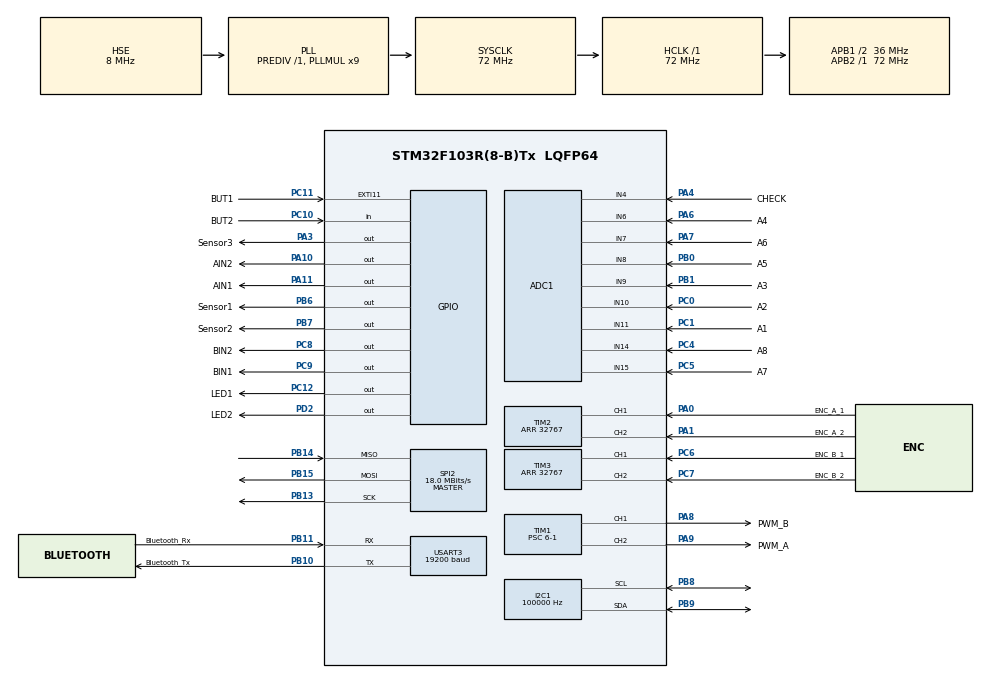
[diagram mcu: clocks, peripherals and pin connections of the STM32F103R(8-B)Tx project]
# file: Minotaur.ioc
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ADC1.Channel-361\#ChannelRegularConversion=ADC_CHANNEL_11
ADC1.Channel-367\#ChannelRegularConversion=ADC_CHANNEL_10
ADC1.Channel-368\#ChannelRegularConversion=ADC_CHANNEL_9
ADC1.Channel-369\#ChannelRegularConversion=ADC_CHANNEL_6
ADC1.Channel-370\#ChannelRegularConversion=ADC_CHANNEL_8
ADC1.Channel-371\#ChannelRegularConversion=ADC_CHANNEL_7
ADC1.Channel-372\#ChannelRegularConversion=ADC_CHANNEL_4
ADC1.ContinuousConvMode=DISABLE
ADC1.DataAlign=ADC_DATAALIGN_RIGHT
ADC1.DiscontinuousConvMode=DISABLE
ADC1.EnableAnalogWatchDog=false
ADC1.EnableRegularConversion=ENABLE
ADC1.ExternalTrigConvEdgeChoice=NONE
ADC1.InjNumberOfConversion=0
ADC1.NbrOfConversion=6
ADC1.NbrOfConversionFlag=1
ADC1.Rank-361\#ChannelRegularConversion=1
ADC1.Rank-367\#ChannelRegularConversion=2
ADC1.Rank-368\#ChannelRegularConversion=3
ADC1.Rank-369\#ChannelRegularConversion=4
ADC1.Rank-370\#ChannelRegularConversion=5
ADC1.Rank-371\#ChannelRegularConversion=6
ADC1.Rank-372\#ChannelRegularConversion=1
ADC1.SamplingTime-361\#ChannelRegularConversion=ADC_SAMPLETIME_41CYCLES_5
ADC1.SamplingTime-367\#ChannelRegularConversion=ADC_SAMPLETIME_41CYCLES_5
ADC1.SamplingTime-368\#ChannelRegularConversion=ADC_SAMPLETIME_41CYCLES_5
ADC1.SamplingTime-369\#ChannelRegularConversion=ADC_SAMPLETIME_41CYCLES_5
ADC1.SamplingTime-370\#ChannelRegularConversion=ADC_SAMPLETIME_41CYCLES_5
ADC1.SamplingTime-371\#ChannelRegularConversion=ADC_SAMPLETIME_41CYCLES_5
ADC1.SamplingTime-372\#ChannelRegularConversion=ADC_SAMPLETIME_1CYCLE_5
ADC1.ScanConvMode=ADC_SCAN_ENABLE
ADC1.master=1
Dma.ADC1.2.Direction=DMA_PERIPH_TO_MEMORY
Dma.ADC1.2.Instance=DMA1_Channel1
Dma.ADC1.2.MemDataAlignment=DMA_MDATAALIGN_HALFWORD
Dma.ADC1.2.MemInc=DMA_MINC_ENABLE
Dma.ADC1.2.Mode=DMA_NORMAL
Dma.ADC1.2.PeriphDataAlignment=DMA_PDATAALIGN_HALFWORD
Dma.ADC1.2.PeriphInc=DMA_PINC_DISABLE
Dma.ADC1.2.Priority=DMA_PRIORITY_VERY_HIGH
Dma.Request0=USART3_TX
Dma.Request1=USART3_RX
Dma.Request2=ADC1
Dma.USART3_RX.1.Direction=DMA_PERIPH_TO_MEMORY
Dma.USART3_RX.1.Instance=DMA1_Channel3
Dma.USART3_RX.1.MemDataAlignment=DMA_MDATAALIGN_BYTE
Dma.USART3_RX.1.MemInc=DMA_MINC_ENABLE
Dma.USART3_RX.1.Mode=DMA_CIRCULAR
Dma.USART3_RX.1.PeriphDataAlignment=DMA_PDATAALIGN_BYTE
Dma.USART3_RX.1.PeriphInc=DMA_PINC_DISABLE
Dma.USART3_RX.1.Priority=DMA_PRIORITY_LOW
Dma.USART3_TX.0.Direction=DMA_MEMORY_TO_PERIPH
Dma.USART3_TX.0.Instance=DMA1_Channel2
Dma.USART3_TX.0.MemDataAlignment=DMA_MDATAALIGN_BYTE
Dma.USART3_TX.0.MemInc=DMA_MINC_ENABLE
Dma.USART3_TX.0.Mode=DMA_NORMAL
Dma.USART3_TX.0.PeriphDataAlignment=DMA_PDATAALIGN_BYTE
Dma.USART3_TX.0.PeriphInc=DMA_PINC_DISABLE
Dma.USART3_TX.0.Priority=DMA_PRIORITY_LOW
I2C1.ClockSpeed=100000
I2C1.OwnAddress=0
Mcu.Family=STM32F1
Mcu.Name=STM32F103R(8-B)Tx
Mcu.Package=LQFP64
NVIC.DMA1_Channel1_IRQn=true\:1\:0\:true
NVIC.DMA1_Channel2_IRQn=true\:2\:0\:true
NVIC.DMA1_Channel3_IRQn=true\:2\:0\:true
NVIC.EXTI15_10_IRQn=true\:0\:0\:false
NVIC.PriorityGroup=NVIC_PRIORITYGROUP_4
NVIC.TIM4_IRQn=true\:0\:0\:false
NVIC.USART3_IRQn=true\:2\:0\:true
PA0-WKUP.GPIO_Label=ENC_A_1
PA0-WKUP.GPIO_PuPd=GPIO_NOPULL
PA0-WKUP.Signal=S_TIM2_CH1_ETR
PA1.GPIO_Label=ENC_A_2
PA1.GPIO_PuPd=GPIO_NOPULL
PA1.Signal=S_TIM2_CH2
PA10.GPIO_Label=AIN2
PA10.Signal=GPIO_Output
PA11.GPIO_Label=AIN1
PA11.Signal=GPIO_Output
PA13.Mode=Trace_Asynchronous_SW
PA13.Signal=SYS_JTMS-SWDIO
PA14.Mode=Trace_Asynchronous_SW
PA14.Signal=SYS_JTCK-SWCLK
PA3.GPIO_Label=Sensor3
PA3.Signal=GPIO_Output
PA4.GPIO_Label=CHECK
PA4.Signal=ADCx_IN4
PA6.GPIO_Label=A4
PA6.Signal=ADCx_IN6
PA7.GPIO_Label=A6
PA7.Signal=ADCx_IN7
PA8.GPIO_Label=PWM_B
PA8.Signal=S_TIM1_CH1
PA9.GPIO_Label=PWM_A
PA9.Signal=S_TIM1_CH2
PB0.GPIO_Label=A5
PB0.Signal=ADCx_IN8
PB1.GPIO_Label=A3
PB1.Signal=ADCx_IN9
PB10.GPIO_Label=Bluetooth_Tx
PB10.Mode=Asynchronous
PB10.Signal=USART3_TX
PB11.GPIO_Label=Bluetooth_Rx
PB11.Mode=Asynchronous
PB11.Signal=USART3_RX
PB13.Mode=Full_Duplex_Master
PB13.Signal=SPI2_SCK
PB14.Mode=Full_Duplex_Master
PB14.Signal=SPI2_MISO
PB15.Mode=Full_Duplex_Master
PB15.Signal=SPI2_MOSI
PB3.Mode=Trace_Asynchronous_SW
PB3.Signal=SYS_JTDO-TRACESWO
PB6.GPIO_Label=Sensor1
PB6.Signal=GPIO_Output
PB7.GPIO_Label=Sensor2
PB7.Signal=GPIO_Output
PB8.Mode=I2C
PB8.Signal=I2C1_SCL
PB9.Mode=I2C
PB9.Signal=I2C1_SDA
PC0.GPIO_Label=A2
PC0.Signal=ADCx_IN10
PC1.GPIO_Label=A1
PC1.Signal=ADCx_IN11
PC10.GPIO_Label=BUT2
PC10.Signal=GPIO_Input
PC11.GPIO_Label=BUT1
PC11.Signal=GPXTI11
PC12.GPIO_Label=LED1
PC12.Signal=GPIO_Output
PC14-OSC32_IN.Mode=LSE-External-Oscillator
PC14-OSC32_IN.Signal=RCC_OSC32_IN
PC15-OSC32_OUT.Mode=LSE-External-Oscillator
PC15-OSC32_OUT.Signal=RCC_OSC32_OUT
PC4.GPIO_Label=A8
PC4.Signal=ADCx_IN14
PC5.GPIO_Label=A7
PC5.Signal=ADCx_IN15
PC6.GPIO_Label=ENC_B_1
PC6.Signal=S_TIM3_CH1
PC7.GPIO_Label=ENC_B_2
PC7.Signal=S_TIM3_CH2
PC8.GPIO_Label=BIN2
PC8.Signal=GPIO_Output
PC9.GPIO_Label=BIN1
PC9.Signal=GPIO_Output
PD0-OSC_IN.Mode=HSE-External-Oscillator
PD0-OSC_IN.Signal=RCC_OSC_IN
PD1-OSC_OUT.Mode=HSE-External-Oscillator
PD1-OSC_OUT.Signal=RCC_OSC_OUT
PD2.GPIO_Label=LED2
PD2.Signal=GPIO_Output
ProjectManager.TargetToolchain=TrueSTUDIO
RCC.ADCPresc=RCC_ADCPCLK2_DIV6
RCC.AHBFreq_Value=72000000
RCC.APB1CLKDivider=RCC_HCLK_DIV2
RCC.APB1Freq_Value=36000000
RCC.APB1TimFreq_Value=72000000
RCC.APB2Freq_Value=72000000
RCC.APB2TimFreq_Value=72000000
RCC.HCLKFreq_Value=72000000
RCC.HSIState=RCC_HSI_ON
RCC.PLLMUL=RCC_PLL_MUL9
RCC.PLLSourceVirtual=RCC_PLLSOURCE_HSE
RCC.SYSCLKFreq_VALUE=72000000
RCC.SYSCLKSource=RCC_SYSCLKSOURCE_PLLCLK
RCC.USBFreq_Value=72000000
SH.ADCx_IN10.0=ADC1_IN10,IN10
SH.ADCx_IN11.0=ADC1_IN11,IN11
SH.ADCx_IN14.0=ADC1_IN14,IN14
SH.ADCx_IN15.0=ADC1_IN15,IN15
SH.ADCx_IN4.0=ADC1_IN4,IN4
SH.ADCx_IN6.0=ADC1_IN6,IN6
SH.ADCx_IN7.0=ADC1_IN7,IN7
SH.ADCx_IN8.0=ADC1_IN8,IN8
SH.ADCx_IN9.0=ADC1_IN9,IN9
SH.S_TIM1_CH1.0=TIM1_CH1,PWM Generation1 CH1
SH.S_TIM1_CH2.0=TIM1_CH2,PWM Generation2 CH2
SH.S_TIM2_CH1_ETR.0=TIM2_CH1,Encoder_Interface
SH.S_TIM2_CH2.0=TIM2_CH2,Encoder_Interface
SH.S_TIM3_CH1.0=TIM3_CH1,Encoder_Interface
SH.S_TIM3_CH2.0=TIM3_CH2,Encoder_Interface
SPI2.CalculateBaudRate=18.0 MBits/s
SPI2.Mode=SPI_MODE_MASTER
TIM1.Channel-PWM\ Generation2\ CH2=TIM_CHANNEL_2
TIM1.OCMode_PWM-PWM\ Generation2\ CH2=TIM_OCMODE_PWM1
TIM1.Period=999
TIM1.Prescaler=6-1
TIM2.CounterMode=TIM_COUNTERMODE_UP
TIM2.EncoderMode=TIM_ENCODERMODE_TI12
TIM2.IC1Polarity=TIM_ICPOLARITY_RISING
TIM2.IC2Polarity=TIM_ICPOLARITY_FALLING
TIM2.Period=32767
TIM3.CounterMode=TIM_COUNTERMODE_UP
TIM3.EncoderMode=TIM_ENCODERMODE_TI12
TIM3.IC2Polarity=TIM_ICPOLARITY_FALLING
TIM3.Period=32767
TIM4.Period=1000-1
TIM4.Prescaler=72-1
TIM4.TIM_MasterOutputTrigger=TIM_TRGO_ENABLE
USART3.BaudRate=19200
VP_RTC_No_RTC_Output.Mode=RTC OUT
VP_TIM1_VS_ClockSourceINT.Mode=Internal
VP_TIM4_VS_ClockSourceINT.Mode=Internal
board=Minotaur

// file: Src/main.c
/**
  ******************************************************************************
  * File Name          : main.c
  * Description        : Main program body
  ******************************************************************************
  *
  * COPYRIGHT(c) 2016 STMicroelectronics
  *
  * Redistribution and use in source and binary forms, with or without modification,
  * are permitted provided that the following conditions are met:
  *   1. Redistributions of source code must retain the above copyright notice,
  *      this list of conditions and the following disclaimer.
  *   2. Redistributions in binary form must reproduce the above copyright notice,
  *      this list of conditions and the following disclaimer in the documentation
  *      and/or other materials provided with the distribution.
  *   3. Neither the name of STMicroelectronics nor the names of its contributors
  *      may be used to endorse or promote products derived from this software
  *      without specific prior written permission.
  *
  * THIS SOFTWARE IS PROVIDED BY THE COPYRIGHT HOLDERS AND CONTRIBUTORS "AS IS"
  * AND ANY EXPRESS OR IMPLIED WARRANTIES, INCLUDING, BUT NOT LIMITED TO, THE
  * IMPLIED WARRANTIES OF MERCHANTABILITY AND FITNESS FOR A PARTICULAR PURPOSE ARE
  * DISCLAIMED. IN NO EVENT SHALL THE COPYRIGHT HOLDER OR CONTRIBUTORS BE LIABLE
  * FOR ANY DIRECT, INDIRECT, INCIDENTAL, SPECIAL, EXEMPLARY, OR CONSEQUENTIAL
  * DAMAGES (INCLUDING, BUT NOT LIMITED TO, PROCUREMENT OF SUBSTITUTE GOODS OR
  * SERVICES; LOSS OF USE, DATA, OR PROFITS; OR BUSINESS INTERRUPTION) HOWEVER
  * CAUSED AND ON ANY THEORY OF LIABILITY, WHETHER IN CONTRACT, STRICT LIABILITY,
  * OR TORT (INCLUDING NEGLIGENCE OR OTHERWISE) ARISING IN ANY WAY OUT OF THE USE
  * OF THIS SOFTWARE, EVEN IF ADVISED OF THE POSSIBILITY OF SUCH DAMAGE.
  *
  ******************************************************************************
  */
#include "stm32f1xx_hal.h"

/* USER CODE BEGIN Includes */
#include "jazda.h"

/* USER CODE END Includes */

ADC_HandleTypeDef hadc1;
DMA_HandleTypeDef hdma_adc1;

I2C_HandleTypeDef hi2c1;

RTC_HandleTypeDef hrtc;

SPI_HandleTypeDef hspi2;

TIM_HandleTypeDef htim1;
TIM_HandleTypeDef htim2;
TIM_HandleTypeDef htim3;
TIM_HandleTypeDef htim4;

UART_HandleTypeDef huart3;
DMA_HandleTypeDef hdma_usart3_tx;
DMA_HandleTypeDef hdma_usart3_rx;

/* USER CODE BEGIN PV */
/* Private variables ---------------------------------------------------------*/

/* USER CODE END PV */

void SystemClock_Config(void);
static void MX_GPIO_Init(void);
static void MX_DMA_Init(void);
static void MX_ADC1_Init(void);
static void MX_I2C1_Init(void);
static void MX_RTC_Init(void);
static void MX_SPI2_Init(void);
static void MX_TIM1_Init(void);
static void MX_TIM2_Init(void);
static void MX_TIM3_Init(void);
static void MX_TIM4_Init(void);
static void MX_USART3_UART_Init(void);

/* USER CODE BEGIN PFP */
/* Private function prototypes -----------------------------------------------*/

/* USER CODE END PFP */

/* USER CODE BEGIN 0 */

//uint16_t adcData[6];
volatile uint32_t adctmp[6]={0,0,0,0,0,0};
volatile int32_t SensorTab[6];
volatile uint16_t dys0[6]={0,0,0,0,0,0};
uint8_t counter=0;
volatile int32_t lin_vel=0,rot_vel;
int8_t map=0;
uint8_t Status=STOP_STATUS;
volatile int32_t angle=0,distance=0,angle1=0;
int32_t dryf=0;
int32_t speed[2];
int8_t indexer=0;

int8_t tryb=0;
int8_t x=1;
int8_t y=1;
int8_t i,j;
int8_t ori=ORI_START; // orientacja startowa
int8_t state=0;
int8_t cell[XMAZE][YMAZE];
int8_t walls[XMAZE][YMAZE];
int8_t target[2]={TARGET_1,TARGET_2};
int8_t path[256];

uint8_t change_wall;
uint8_t change_wall_1;
uint8_t column;

int16_t X=0,Y=0,Z=0;

//extern int32_t SSR_Tresh=-90;
//extern int32_t SSL_Tresh=-90;
//extern int32_t SR_Tresh=-150;
//extern int32_t SL_Tresh=-150;
//extern int32_t SF_Tresh=-140;

/* USER CODE END 0 */

int main(void)
{

  /* USER CODE BEGIN 1 */
	VEL=300;
  /* USER CODE END 1 */

  /* MCU Configuration----------------------------------------------------------*/

  /* Reset of all peripherals, Initializes the Flash interface and the Systick. */
   HAL_Init();

  /* Configure the system clock */
  SystemClock_Config();

  /* Initialize all configured peripherals */
  MX_GPIO_Init();
  MX_DMA_Init();
  MX_ADC1_Init();
  MX_I2C1_Init();
  MX_RTC_Init();
  MX_SPI2_Init();
  MX_TIM1_Init();
  MX_TIM2_Init();
  MX_TIM3_Init();
  MX_TIM4_Init();
  MX_USART3_UART_Init();

  /* Infinite loop */
  /* USER CODE BEGIN WHILE */
  HAL_TIM_Encoder_Start(&htim3,TIM_CHANNEL_ALL);
  HAL_TIM_Encoder_Start(&htim2,TIM_CHANNEL_ALL);
  HAL_TIM_PWM_Start(&htim1,TIM_CHANNEL_1);
  HAL_TIM_PWM_Start(&htim1,TIM_CHANNEL_2);

    // Start ADC DMA
  HAL_ADC_Start(&hadc1);
  HAL_ADCEx_Calibration_Start(&hadc1);
//  HAL_ADC_Start_DMA(&hadc1, (uint32_t*)&adcData, 6);

  HAL_UART_MspInit(&huart3);

  HAL_TIM_Base_Start(&htim4);

  HAL_UART_Receive_DMA(&huart3,(uint8_t*)RxBuffer,1);

  int i1, j1;
  for(i1=0;i1<XMAZE;i1++)
  {
    for(j1=0;j1<YMAZE;j1++)
    {
      cell[i1][j1]=-1;
      walls[i1][j1]=-1;
    }
  }
  while(Status==STOP_STATUS)
  {
	  HAL_GPIO_WritePin(LED1_GPIO_Port,LED1_Pin,1);
	  HAL_Delay(500);
	  HAL_GPIO_WritePin(LED1_GPIO_Port,LED1_Pin,0);
	  HAL_Delay(500);
  }

  calibration();

  while (1)
  {

  if (istarget(x,y)==1) rstdrive();
  if(Status==DRIVE_STATUS)
	  {
		  if (walls[x][y]==-1)
		  {
		 	 mapCell();

		 	 HAL_TIM_Base_Stop_IT(&htim4);

		 	 flood();
		 	 findPath();
		  }
		  readPath();

		  HAL_TIM_Base_Start_IT(&htim4);
		  set();
		  drive(VEL);
	  }
  /* USER CODE END WHILE */

  }

}

/** System Clock Configuration
*/
void SystemClock_Config(void)
{

  RCC_OscInitTypeDef RCC_OscInitStruct;
  RCC_ClkInitTypeDef RCC_ClkInitStruct;
  RCC_PeriphCLKInitTypeDef PeriphClkInit;

  RCC_OscInitStruct.OscillatorType = RCC_OSCILLATORTYPE_LSI|RCC_OSCILLATORTYPE_HSE;
  RCC_OscInitStruct.HSEState = RCC_HSE_ON;
  RCC_OscInitStruct.HSEPredivValue = RCC_HSE_PREDIV_DIV1;
  RCC_OscInitStruct.LSIState = RCC_LSI_ON;
  RCC_OscInitStruct.PLL.PLLState = RCC_PLL_ON;
  RCC_OscInitStruct.PLL.PLLSource = RCC_PLLSOURCE_HSE;
  RCC_OscInitStruct.PLL.PLLMUL = RCC_PLL_MUL9;
  HAL_RCC_OscConfig(&RCC_OscInitStruct);

  RCC_ClkInitStruct.ClockType = RCC_CLOCKTYPE_SYSCLK|RCC_CLOCKTYPE_PCLK1;
  RCC_ClkInitStruct.SYSCLKSource = RCC_SYSCLKSOURCE_PLLCLK;
  RCC_ClkInitStruct.AHBCLKDivider = RCC_SYSCLK_DIV1;
  RCC_ClkInitStruct.APB1CLKDivider = RCC_HCLK_DIV2;
  RCC_ClkInitStruct.APB2CLKDivider = RCC_HCLK_DIV1;
  HAL_RCC_ClockConfig(&RCC_ClkInitStruct, FLASH_LATENCY_2);

  PeriphClkInit.PeriphClockSelection = RCC_PERIPHCLK_RTC|RCC_PERIPHCLK_ADC;
  PeriphClkInit.RTCClockSelection = RCC_RTCCLKSOURCE_LSI;
  PeriphClkInit.AdcClockSelection = RCC_ADCPCLK2_DIV6;
  HAL_RCCEx_PeriphCLKConfig(&PeriphClkInit);

  HAL_SYSTICK_Config(HAL_RCC_GetHCLKFreq()/1000);

  HAL_SYSTICK_CLKSourceConfig(SYSTICK_CLKSOURCE_HCLK);

  /* SysTick_IRQn interrupt configuration */
  HAL_NVIC_SetPriority(SysTick_IRQn, 0, 0);
}

/* ADC1 init function */
void MX_ADC1_Init(void)
{

  ADC_ChannelConfTypeDef sConfig;

    /**Common config
    */
  hadc1.Instance = ADC1;
  hadc1.Init.ScanConvMode = ADC_SCAN_ENABLE;
  hadc1.Init.ContinuousConvMode = DISABLE;
  hadc1.Init.DiscontinuousConvMode = DISABLE;
  hadc1.Init.ExternalTrigConv = ADC_SOFTWARE_START;
  hadc1.Init.DataAlign = ADC_DATAALIGN_RIGHT;
  hadc1.Init.NbrOfConversion = 6;
  HAL_ADC_Init(&hadc1);

    /**Configure Regular Channel
    */
  sConfig.Channel = ADC_CHANNEL_4;
  sConfig.Rank = 1;
  sConfig.SamplingTime = ADC_SAMPLETIME_1CYCLE_5;
  HAL_ADC_ConfigChannel(&hadc1, &sConfig);

    /**Configure Regular Channel
    */
  sConfig.Channel = ADC_CHANNEL_11;
  sConfig.SamplingTime = ADC_SAMPLETIME_41CYCLES_5;
  HAL_ADC_ConfigChannel(&hadc1, &sConfig);

    /**Configure Regular Channel
    */
  sConfig.Channel = ADC_CHANNEL_10;
  sConfig.Rank = 2;
  HAL_ADC_ConfigChannel(&hadc1, &sConfig);

    /**Configure Regular Channel
    */
  sConfig.Channel = ADC_CHANNEL_9;
  sConfig.Rank = 3;
  HAL_ADC_ConfigChannel(&hadc1, &sConfig);

    /**Configure Regular Channel
    */
  sConfig.Channel = ADC_CHANNEL_6;
  sConfig.Rank = 4;
  HAL_ADC_ConfigChannel(&hadc1, &sConfig);

    /**Configure Regular Channel
    */
  sConfig.Channel = ADC_CHANNEL_8;
  sConfig.Rank = 5;
  HAL_ADC_ConfigChannel(&hadc1, &sConfig);

    /**Configure Regular Channel
    */
  sConfig.Channel = ADC_CHANNEL_7;
  sConfig.Rank = 6;
  HAL_ADC_ConfigChannel(&hadc1, &sConfig);

}

/* I2C1 init function */
void MX_I2C1_Init(void)
{

  hi2c1.Instance = I2C1;
  hi2c1.Init.ClockSpeed = 100000;
  hi2c1.Init.DutyCycle = I2C_DUTYCYCLE_2;
  hi2c1.Init.OwnAddress1 = 0;
  hi2c1.Init.AddressingMode = I2C_ADDRESSINGMODE_7BIT;
  hi2c1.Init.DualAddressMode = I2C_DUALADDRESS_DISABLED;
  hi2c1.Init.OwnAddress2 = 0;
  hi2c1.Init.GeneralCallMode = I2C_GENERALCALL_DISABLED;
  hi2c1.Init.NoStretchMode = I2C_NOSTRETCH_DISABLED;
  HAL_I2C_Init(&hi2c1);

}

/* RTC init function */
void MX_RTC_Init(void)
{

  RTC_TimeTypeDef sTime;
  RTC_DateTypeDef DateToUpdate;

    /**Initialize RTC and set the Time and Date
    */
  hrtc.Instance = RTC;
  hrtc.Init.AsynchPrediv = RTC_AUTO_1_SECOND;
  hrtc.Init.OutPut = RTC_OUTPUTSOURCE_NONE;
  HAL_RTC_Init(&hrtc);

  sTime.Hours = 0x0;
  sTime.Minutes = 0x0;
  sTime.Seconds = 0x0;

  HAL_RTC_SetTime(&hrtc, &sTime, FORMAT_BCD);

  DateToUpdate.WeekDay = RTC_WEEKDAY_MONDAY;
  DateToUpdate.Month = RTC_MONTH_JANUARY;
  DateToUpdate.Date = 0x1;
  DateToUpdate.Year = 0x0;

  HAL_RTC_SetDate(&hrtc, &DateToUpdate, FORMAT_BCD);

}

/* SPI2 init function */
void MX_SPI2_Init(void)
{

  hspi2.Instance = SPI2;
  hspi2.Init.Mode = SPI_MODE_MASTER;
  hspi2.Init.Direction = SPI_DIRECTION_2LINES;
  hspi2.Init.DataSize = SPI_DATASIZE_8BIT;
  hspi2.Init.CLKPolarity = SPI_POLARITY_LOW;
  hspi2.Init.CLKPhase = SPI_PHASE_1EDGE;
  hspi2.Init.NSS = SPI_NSS_SOFT;
  hspi2.Init.BaudRatePrescaler = SPI_BAUDRATEPRESCALER_2;
  hspi2.Init.FirstBit = SPI_FIRSTBIT_MSB;
  hspi2.Init.TIMode = SPI_TIMODE_DISABLED;
  hspi2.Init.CRCCalculation = SPI_CRCCALCULATION_DISABLED;
  hspi2.Init.CRCPolynomial = 10;
  HAL_SPI_Init(&hspi2);

}

/* TIM1 init function */
void MX_TIM1_Init(void)
{

  TIM_ClockConfigTypeDef sClockSourceConfig;
  TIM_MasterConfigTypeDef sMasterConfig;
  TIM_BreakDeadTimeConfigTypeDef sBreakDeadTimeConfig;
  TIM_OC_InitTypeDef sConfigOC;

  htim1.Instance = TIM1;
  htim1.Init.Prescaler = 6-1;
  htim1.Init.CounterMode = TIM_COUNTERMODE_UP;
  htim1.Init.Period = 999;
  htim1.Init.ClockDivision = TIM_CLOCKDIVISION_DIV1;
  htim1.Init.RepetitionCounter = 0;
  HAL_TIM_Base_Init(&htim1);

  sClockSourceConfig.ClockSource = TIM_CLOCKSOURCE_INTERNAL;
  HAL_TIM_ConfigClockSource(&htim1, &sClockSourceConfig);

  HAL_TIM_PWM_Init(&htim1);

  sMasterConfig.MasterOutputTrigger = TIM_TRGO_RESET;
  sMasterConfig.MasterSlaveMode = TIM_MASTERSLAVEMODE_DISABLE;
  HAL_TIMEx_MasterConfigSynchronization(&htim1, &sMasterConfig);

  sBreakDeadTimeConfig.OffStateRunMode = TIM_OSSR_DISABLE;
  sBreakDeadTimeConfig.OffStateIDLEMode = TIM_OSSI_DISABLE;
  sBreakDeadTimeConfig.LockLevel = TIM_LOCKLEVEL_OFF;
  sBreakDeadTimeConfig.DeadTime = 0;
  sBreakDeadTimeConfig.BreakState = TIM_BREAK_DISABLE;
  sBreakDeadTimeConfig.BreakPolarity = TIM_BREAKPOLARITY_HIGH;
  sBreakDeadTimeConfig.AutomaticOutput = TIM_AUTOMATICOUTPUT_DISABLE;
  HAL_TIMEx_ConfigBreakDeadTime(&htim1, &sBreakDeadTimeConfig);

  sConfigOC.OCMode = TIM_OCMODE_PWM1;
  sConfigOC.Pulse = 0;
  sConfigOC.OCPolarity = TIM_OCPOLARITY_HIGH;
  sConfigOC.OCNPolarity = TIM_OCNPOLARITY_HIGH;
  sConfigOC.OCFastMode = TIM_OCFAST_DISABLE;
  sConfigOC.OCIdleState = TIM_OCIDLESTATE_RESET;
  sConfigOC.OCNIdleState = TIM_OCNIDLESTATE_RESET;
  HAL_TIM_PWM_ConfigChannel(&htim1, &sConfigOC, TIM_CHANNEL_1);

  HAL_TIM_PWM_ConfigChannel(&htim1, &sConfigOC, TIM_CHANNEL_2);

}

/* TIM2 init function */
void MX_TIM2_Init(void)
{

  TIM_Encoder_InitTypeDef sConfig;
  TIM_MasterConfigTypeDef sMasterConfig;

  htim2.Instance = TIM2;
  htim2.Init.Prescaler = 0;
  htim2.Init.CounterMode = TIM_COUNTERMODE_UP;
  htim2.Init.Period = 32767;
  htim2.Init.ClockDivision = TIM_CLOCKDIVISION_DIV1;
  sConfig.EncoderMode = TIM_ENCODERMODE_TI12;
  sConfig.IC1Polarity = TIM_ICPOLARITY_RISING;
  sConfig.IC1Selection = TIM_ICSELECTION_DIRECTTI;
  sConfig.IC1Prescaler = TIM_ICPSC_DIV1;
  sConfig.IC1Filter = 0;
  sConfig.IC2Polarity = TIM_ICPOLARITY_FALLING;
  sConfig.IC2Selection = TIM_ICSELECTION_DIRECTTI;
  sConfig.IC2Prescaler = TIM_ICPSC_DIV1;
  sConfig.IC2Filter = 0;
  HAL_TIM_Encoder_Init(&htim2, &sConfig);

  sMasterConfig.MasterOutputTrigger = TIM_TRGO_RESET;
  sMasterConfig.MasterSlaveMode = TIM_MASTERSLAVEMODE_DISABLE;
  HAL_TIMEx_MasterConfigSynchronization(&htim2, &sMasterConfig);

}

/* TIM3 init function */
void MX_TIM3_Init(void)
{

  TIM_Encoder_InitTypeDef sConfig;
  TIM_MasterConfigTypeDef sMasterConfig;

  htim3.Instance = TIM3;
  htim3.Init.Prescaler = 0;
  htim3.Init.CounterMode = TIM_COUNTERMODE_UP;
  htim3.Init.Period = 32767;
  htim3.Init.ClockDivision = TIM_CLOCKDIVISION_DIV1;
  sConfig.EncoderMode = TIM_ENCODERMODE_TI12;
  sConfig.IC1Polarity = TIM_ICPOLARITY_RISING;
  sConfig.IC1Selection = TIM_ICSELECTION_DIRECTTI;
  sConfig.IC1Prescaler = TIM_ICPSC_DIV1;
  sConfig.IC1Filter = 0;
  sConfig.IC2Polarity = TIM_ICPOLARITY_FALLING;
  sConfig.IC2Selection = TIM_ICSELECTION_DIRECTTI;
  sConfig.IC2Prescaler = TIM_ICPSC_DIV1;
  sConfig.IC2Filter = 0;
  HAL_TIM_Encoder_Init(&htim3, &sConfig);

  sMasterConfig.MasterOutputTrigger = TIM_TRGO_RESET;
  sMasterConfig.MasterSlaveMode = TIM_MASTERSLAVEMODE_DISABLE;
  HAL_TIMEx_MasterConfigSynchronization(&htim3, &sMasterConfig);

}

/* TIM4 init function */
void MX_TIM4_Init(void)
{

  TIM_ClockConfigTypeDef sClockSourceConfig;
  TIM_MasterConfigTypeDef sMasterConfig;

  htim4.Instance = TIM4;
  htim4.Init.Prescaler = 72-1;
  htim4.Init.CounterMode = TIM_COUNTERMODE_UP;
  htim4.Init.Period = 250-1;
  htim4.Init.ClockDivision = TIM_CLOCKDIVISION_DIV1;
  HAL_TIM_Base_Init(&htim4);

  sClockSourceConfig.ClockSource = TIM_CLOCKSOURCE_INTERNAL;
  HAL_TIM_ConfigClockSource(&htim4, &sClockSourceConfig);

  sMasterConfig.MasterOutputTrigger = TIM_TRGO_ENABLE;
  sMasterConfig.MasterSlaveMode = TIM_MASTERSLAVEMODE_DISABLE;
  HAL_TIMEx_MasterConfigSynchronization(&htim4, &sMasterConfig);

}

/* USART3 init function */
void MX_USART3_UART_Init(void)
{

  huart3.Instance = USART3;
  huart3.Init.BaudRate = 19200;
  huart3.Init.WordLength = UART_WORDLENGTH_8B;
  huart3.Init.StopBits = UART_STOPBITS_1;
  huart3.Init.Parity = UART_PARITY_NONE;
  huart3.Init.Mode = UART_MODE_TX_RX;
  huart3.Init.HwFlowCtl = UART_HWCONTROL_NONE;
  huart3.Init.OverSampling = UART_OVERSAMPLING_16;
  HAL_UART_Init(&huart3);

}

void MX_DMA_Init(void)
{
  /* DMA controller clock enable */
  __HAL_RCC_DMA1_CLK_ENABLE();

  /* DMA interrupt init */
  HAL_NVIC_SetPriority(DMA1_Channel1_IRQn, 1, 0);
  HAL_NVIC_EnableIRQ(DMA1_Channel1_IRQn);
  HAL_NVIC_SetPriority(DMA1_Channel2_IRQn, 2, 0);
  HAL_NVIC_EnableIRQ(DMA1_Channel2_IRQn);
  HAL_NVIC_SetPriority(DMA1_Channel3_IRQn, 2, 0);
  HAL_NVIC_EnableIRQ(DMA1_Channel3_IRQn);

}

/** Configure pins as
        * Analog
        * Input
        * Output
        * EVENT_OUT
        * EXTI
*/
void MX_GPIO_Init(void)
{

  GPIO_InitTypeDef GPIO_InitStruct;

  /* GPIO Ports Clock Enable */
  __GPIOC_CLK_ENABLE();
  __GPIOD_CLK_ENABLE();
  __GPIOA_CLK_ENABLE();
  __GPIOB_CLK_ENABLE();

  /*Configure GPIO pins : Sensor3_Pin AIN2_Pin AIN1_Pin */
  GPIO_InitStruct.Pin = Sensor3_Pin|AIN2_Pin|AIN1_Pin;
  GPIO_InitStruct.Mode = GPIO_MODE_OUTPUT_PP;
  GPIO_InitStruct.Speed = GPIO_SPEED_LOW;
  HAL_GPIO_Init(GPIOA, &GPIO_InitStruct);

  /*Configure GPIO pins : BIN2_Pin BIN1_Pin LED1_Pin */
  GPIO_InitStruct.Pin = BIN2_Pin|BIN1_Pin|LED1_Pin;
  GPIO_InitStruct.Mode = GPIO_MODE_OUTPUT_PP;
  GPIO_InitStruct.Speed = GPIO_SPEED_LOW;
  HAL_GPIO_Init(GPIOC, &GPIO_InitStruct);

  /*Configure GPIO pin : BUT2_Pin */
  GPIO_InitStruct.Pin = BUT2_Pin;
  GPIO_InitStruct.Mode = GPIO_MODE_INPUT;
  GPIO_InitStruct.Pull = GPIO_NOPULL;
  HAL_GPIO_Init(BUT2_GPIO_Port, &GPIO_InitStruct);

  /*Configure GPIO pin : BUT1_Pin */
  GPIO_InitStruct.Pin = BUT1_Pin;
  GPIO_InitStruct.Mode = GPIO_MODE_IT_RISING;
  GPIO_InitStruct.Pull = GPIO_NOPULL;
  HAL_GPIO_Init(BUT1_GPIO_Port, &GPIO_InitStruct);

  /*Configure GPIO pin : LED2_Pin */
  GPIO_InitStruct.Pin = LED2_Pin;
  GPIO_InitStruct.Mode = GPIO_MODE_OUTPUT_PP;
  GPIO_InitStruct.Speed = GPIO_SPEED_LOW;
  HAL_GPIO_Init(LED2_GPIO_Port, &GPIO_InitStruct);

  /*Configure GPIO pins : Sensor1_Pin Sensor2_Pin */
  GPIO_InitStruct.Pin = Sensor1_Pin|Sensor2_Pin;
  GPIO_InitStruct.Mode = GPIO_MODE_OUTPUT_PP;
  GPIO_InitStruct.Speed = GPIO_SPEED_LOW;
  HAL_GPIO_Init(GPIOB, &GPIO_InitStruct);

  /* EXTI interrupt init*/
  HAL_NVIC_SetPriority(EXTI15_10_IRQn, 0, 0);
  HAL_NVIC_EnableIRQ(EXTI15_10_IRQn);

}

/************************ (C) COPYRIGHT STMicroelectronics *****END OF FILE****/
